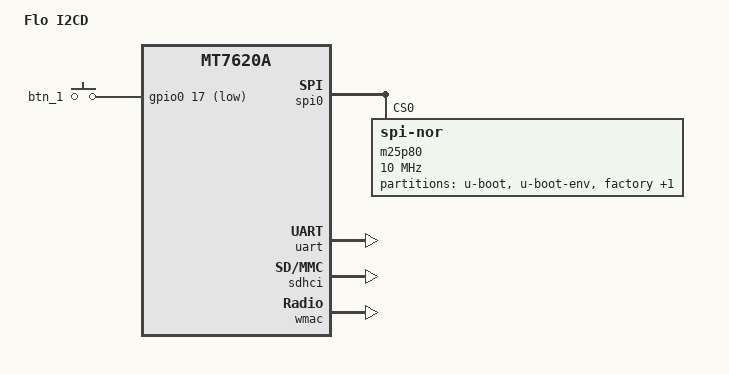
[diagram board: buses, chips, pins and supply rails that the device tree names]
/dts-v1/;

#include "mt7620a.dtsi"

/ {
	compatible = "flo,i2cd", "ralink,mt7620a-soc";
	model = "Flo I2CD";

	chosen {
		bootargs = "console=ttyS1,57600";
	};

	gpio-keys-polled {
		compatible = "gpio-keys-polled";
		#address-cells = <1>;
		#size-cells = <0>;
		poll-interval = <20>;

		btn_1 {
			label = "btn_1";
			gpios = <&gpio0 17 1>;
			linux,code = <0x101>;
		};
	};
};

&spi0 {
	status = "okay";

	m25p80@0 {
		#address-cells = <1>;
		#size-cells = <1>;
		compatible = "jedec,spi-nor";
		reg = <0>;
		linux,modalias = "m25p80", "en25q64";
		spi-max-frequency = <10000000>;

		partition@0 {
			label = "u-boot";
			reg = <0x0 0x30000>;
			read-only;
		};

		partition@30000 {
			label = "u-boot-env";
			reg = <0x30000 0x10000>;
		};

		factory: partition@40000 {
			label = "factory";
			reg = <0x40000 0x10000>;
		};

		partition@50000 {
			label = "firmware";
			reg = <0x50000 0x7b0000>;
		};
	};
};

&pinctrl {
	state_default: pinctrl0 {
		gpio {
			ralink,group = "i2c", "wdt";
			ralink,function = "gpio";
		};
	};

	uartf_pins: uartf {
		uart {
			ralink,group = "uartf";
			ralink,function = "uartf";
		};
	};
};

&uart {
	pinctrl-names = "default";
	pinctrl-0 = <&uartf_pins>;

	status = "okay";
};

&sdhci {
	status = "okay";
};

&ethernet {
	mtd-mac-address = <&factory 0x4>;
	mediatek,portmap = "llllw";
};

&wmac {
	ralink,mtd-eeprom = <&factory 0>;
};
